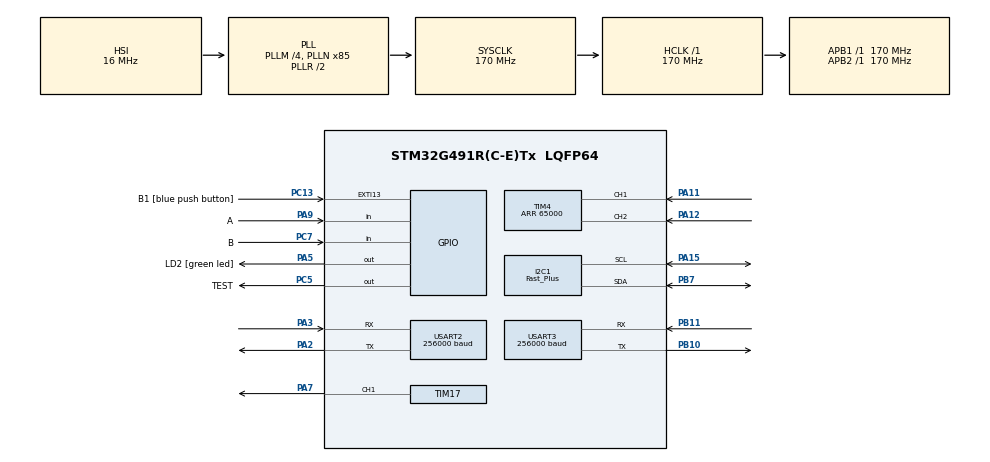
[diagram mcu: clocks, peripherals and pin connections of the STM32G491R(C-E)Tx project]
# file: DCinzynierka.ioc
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Dma.Request0=USART3_RX
Dma.Request1=USART2_RX
Dma.USART2_RX.1.Direction=DMA_PERIPH_TO_MEMORY
Dma.USART2_RX.1.EventEnable=DISABLE
Dma.USART2_RX.1.Instance=DMA1_Channel2
Dma.USART2_RX.1.MemDataAlignment=DMA_MDATAALIGN_BYTE
Dma.USART2_RX.1.MemInc=DMA_MINC_ENABLE
Dma.USART2_RX.1.Mode=DMA_NORMAL
Dma.USART2_RX.1.PeriphDataAlignment=DMA_PDATAALIGN_BYTE
Dma.USART2_RX.1.PeriphInc=DMA_PINC_DISABLE
Dma.USART2_RX.1.Polarity=HAL_DMAMUX_REQ_GEN_RISING
Dma.USART2_RX.1.Priority=DMA_PRIORITY_LOW
Dma.USART2_RX.1.RequestNumber=1
Dma.USART2_RX.1.SignalID=NONE
Dma.USART2_RX.1.SyncEnable=DISABLE
Dma.USART2_RX.1.SyncPolarity=HAL_DMAMUX_SYNC_NO_EVENT
Dma.USART2_RX.1.SyncRequestNumber=1
Dma.USART2_RX.1.SyncSignalID=NONE
Dma.USART3_RX.0.Direction=DMA_PERIPH_TO_MEMORY
Dma.USART3_RX.0.EventEnable=DISABLE
Dma.USART3_RX.0.Instance=DMA1_Channel1
Dma.USART3_RX.0.MemDataAlignment=DMA_MDATAALIGN_BYTE
Dma.USART3_RX.0.MemInc=DMA_MINC_ENABLE
Dma.USART3_RX.0.Mode=DMA_NORMAL
Dma.USART3_RX.0.PeriphDataAlignment=DMA_PDATAALIGN_BYTE
Dma.USART3_RX.0.PeriphInc=DMA_PINC_DISABLE
Dma.USART3_RX.0.Polarity=HAL_DMAMUX_REQ_GEN_RISING
Dma.USART3_RX.0.Priority=DMA_PRIORITY_LOW
Dma.USART3_RX.0.RequestNumber=1
Dma.USART3_RX.0.SignalID=NONE
Dma.USART3_RX.0.SyncEnable=DISABLE
Dma.USART3_RX.0.SyncPolarity=HAL_DMAMUX_SYNC_NO_EVENT
Dma.USART3_RX.0.SyncRequestNumber=1
Dma.USART3_RX.0.SyncSignalID=NONE
I2C1.Analog_Filter=I2C_ANALOGFILTER_ENABLE
I2C1.I2C_Coeff_DF=0
I2C1.I2C_Speed_Mode=I2C_Fast_Plus
I2C1.Timing=0x00802172
Mcu.Family=STM32G4
Mcu.Name=STM32G491R(C-E)Tx
Mcu.Package=LQFP64
NVIC.DMA1_Channel1_IRQn=true\:0\:0\:false\:false\:true\:false\:true\:true
NVIC.DMA1_Channel2_IRQn=true\:0\:0\:false\:false\:true\:false\:true\:true
NVIC.EXTI15_10_IRQn=true\:0\:0\:false\:false\:true\:true\:true\:true
NVIC.PriorityGroup=NVIC_PRIORITYGROUP_4
NVIC.TIM1_BRK_TIM15_IRQn=true\:0\:0\:false\:false\:true\:true\:true\:true
NVIC.TIM2_IRQn=true\:0\:0\:false\:false\:true\:true\:true\:true
NVIC.TIM3_IRQn=true\:0\:0\:false\:false\:true\:true\:true\:true
NVIC.USART3_IRQn=true\:0\:0\:false\:false\:true\:true\:true\:true
PA11.Signal=S_TIM4_CH1
PA12.Signal=S_TIM4_CH2
PA13.GPIO_Label=T_SWDIO
PA13.Mode=Serial_Wire
PA13.Signal=SYS_JTMS-SWDIO
PA14.GPIO_Label=T_SWCLK
PA14.Mode=Serial_Wire
PA14.Signal=SYS_JTCK-SWCLK
PA15.Mode=I2C
PA15.Signal=I2C1_SCL
PA2.Mode=Asynchronous
PA2.Signal=USART2_TX
PA3.Mode=Asynchronous
PA3.Signal=USART2_RX
PA5.GPIO_Label=LD2 [green led]
PA5.Signal=GPIO_Output
PA7.Signal=S_TIM17_CH1
PA9.GPIO_Label=A
PA9.Signal=GPIO_Input
PB10.Mode=Asynchronous
PB10.Signal=USART3_TX
PB11.Mode=Asynchronous
PB11.Signal=USART3_RX
PB3.GPIO_Label=T_SWO
PB3.Signal=SYS_JTDO-SWO
PB7.Mode=I2C
PB7.Signal=I2C1_SDA
PC13.GPIO_Label=B1 [blue push button]
PC13.Signal=GPXTI13
PC14-OSC32_IN.Mode=LSE-External-Oscillator
PC14-OSC32_IN.Signal=RCC_OSC32_IN
PC15-OSC32_OUT.Mode=LSE-External-Oscillator
PC15-OSC32_OUT.Signal=RCC_OSC32_OUT
PC5.GPIO_Label=TEST
PC5.Signal=GPIO_Output
PC7.GPIO_Label=B
PC7.Signal=GPIO_Input
PF0-OSC_IN.Mode=HSE-External-Oscillator
PF0-OSC_IN.Signal=RCC_OSC_IN
PF1-OSC_OUT.Mode=HSE-External-Oscillator
PF1-OSC_OUT.Signal=RCC_OSC_OUT
ProjectManager.HeapSize=0x200
ProjectManager.StackSize=0x400
ProjectManager.TargetToolchain=STM32CubeIDE
RCC.ADC12Freq_Value=170000000
RCC.ADC345Freq_Value=170000000
RCC.AHBFreq_Value=170000000
RCC.APB1Freq_Value=170000000
RCC.APB1TimFreq_Value=170000000
RCC.APB2Freq_Value=170000000
RCC.APB2TimFreq_Value=170000000
RCC.CortexFreq_Value=170000000
RCC.EXTERNAL_CLOCK_VALUE=12288000
RCC.HCLKFreq_Value=170000000
RCC.HSE_VALUE=24000000
RCC.HSI48_VALUE=48000000
RCC.HSI_VALUE=16000000
RCC.PLLM=RCC_PLLM_DIV4
RCC.PLLN=85
RCC.RTCClockSelection=RCC_RTCCLKSOURCE_LSE
RCC.SYSCLKFreq_VALUE=170000000
RCC.SYSCLKSource=RCC_SYSCLKSOURCE_PLLCLK
RCC.USBFreq_Value=48000000
RCC.VCOOutputFreq_Value=340000000
SH.S_TIM17_CH1.0=TIM17_CH1,PWM Generation1 CH1
SH.S_TIM4_CH1.0=TIM4_CH1,Encoder_Interface
SH.S_TIM4_CH2.0=TIM4_CH2,Encoder_Interface
TIM15.PeriodNoDither=9999
TIM15.Prescaler=169
TIM17.Channel=TIM_CHANNEL_1
TIM17.PeriodNoDither=9999
TIM17.Prescaler=16
TIM2.PeriodNoDither=999
TIM2.Prescaler=169
TIM3.PeriodNoDither=9999
TIM3.Prescaler=16999
TIM4.EncoderMode=TIM_ENCODERMODE_TI12
TIM4.PeriodNoDither=65000
USART2.BaudRate=256000
USART2.VirtualMode-Asynchronous=VM_ASYNC
USART3.BaudRate=256000
USART3.VirtualMode-Asynchronous=VM_ASYNC
VP_SYS_VS_DBSignals.Mode=DisableDeadBatterySignals
VP_TIM15_VS_ClockSourceINT.Mode=Internal
VP_TIM17_VS_ClockSourceINT.Mode=Enable_Timer
VP_TIM2_VS_ClockSourceINT.Mode=Internal
VP_TIM3_VS_ClockSourceINT.Mode=Internal
board=NUCLEO-G491RE

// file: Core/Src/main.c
/* USER CODE BEGIN Header */
/**
 ******************************************************************************
 * @file           : main.c
 * @brief          : Main program body
 ******************************************************************************
 * @attention
 *
 * <h2><center>&copy; Copyright (c) 2022 STMicroelectronics.
 * All rights reserved.</center></h2>
 *
 * This software component is licensed by ST under BSD 3-Clause license,
 * the "License"; You may not use this file except in compliance with the
 * License. You may obtain a copy of the License at:
 *                        opensource.org/licenses/BSD-3-Clause
 *
 ******************************************************************************
 */
/* USER CODE END Header */
#include "main.h"
#include "dma.h"
#include "i2c.h"
#include "tim.h"
#include "usart.h"
#include "gpio.h"

/* USER CODE BEGIN Includes */
#include "stdio.h"
#include "stdbool.h"
#include "INA219.h"
#include "math.h"
/* USER CODE END Includes */

/* USER CODE BEGIN PV */
int pwm = 0;

// SILNIK DC
volatile int32_t count;
volatile int16_t speed = 0;
volatile int16_t speed_1 = 0; // do rysowania
volatile int16_t speed_prev;
float number = 15; // dla czasu 10ms
// UART
char msg[64];

uint8_t data[100]; // Tablica przechowujaca wysylana wiadomosc.
uint16_t size = 0;
uint8_t Received[10];
volatile float Kpw = 0.11f;
volatile float Kiw = 0.25f;
volatile float Kpi = 0.0f;
volatile float Kii = 5.0f;

volatile int WZZ = 2; //zadana predkosc obrotowa
volatile int KRK = 1; //zadana ilosc krokow
_Bool LogFlag = 0;
volatile _Bool Flaga = false;
volatile _Bool Flaga2 = false;

//pomiar pradu
INA219_t ina219;
volatile float vbus, vshunt, current;
volatile float current1 = 0.0f;
volatile float current2 = 0.0f;
volatile float currentObsv;
volatile float Tf = 0.2f;
//Wszystkie wartości z czapy
//Nastawy regulatora prądu

//Nastawy regulatora prędkości

//Warunki początkowe, okres, wypełnienie
float prevIntI = 0.0f;
float prevErrorI = 0.0f;
float prevIntW = 0.0f;
float prevErrorW = 0.0f;
volatile uint16_t duty; // PWM %
volatile float setValueW = 1000.0f; // value of omega- setpoint
volatile float setValueI = 500.0f; //value of I- setpoint
float Tp = 0.01f; //Sample time
volatile float Wmess; // zmierzona omega
volatile float Imess; // zmierzony prąd
float kFi = 0.127f; // stała elektromotoryczna napędu;
volatile int REG = 0;
volatile int PWM = 0;
int32_t cntT = 0;
int32_t cntW = 0;

/* USER CODE END PV */

void SystemClock_Config(void);

/* USER CODE BEGIN 0 */
void HAL_TIM_PeriodElapsedCallback(TIM_HandleTypeDef *htim) {
	if (htim->Instance == TIM15) {

		if (HAL_GPIO_ReadPin(A_GPIO_Port, A_Pin) == SET
				&& HAL_GPIO_ReadPin(B_GPIO_Port, B_Pin) == SET) {
			htim17.Instance->CCR1 = 0;
			prevIntI = 0.0f;
			prevErrorI = 0.0f;
			prevIntW = 0.0f;
			prevErrorW = 0.0f;
		}

		if ((HAL_GPIO_ReadPin(A_GPIO_Port, A_Pin) == RESET
				&& HAL_GPIO_ReadPin(B_GPIO_Port, B_Pin) == RESET)
				|| (HAL_GPIO_ReadPin(A_GPIO_Port, A_Pin) == SET
						&& HAL_GPIO_ReadPin(B_GPIO_Port, B_Pin) == SET)) {
			htim17.Instance->CCR1 = 0;
			prevIntI = 0.0f;
			prevErrorI = 0.0f;
			prevIntW = 0.0f;
			prevErrorW = 0.0f;

		}

		if (HAL_GPIO_ReadPin(A_GPIO_Port, A_Pin) == SET
				&& HAL_GPIO_ReadPin(B_GPIO_Port, B_Pin) == RESET) {
			if (REG == 0) {
				htim17.Instance->CCR1 = duty;
			}
			if (REG == 1) {
				//TorqueControl();
			}
			if (REG == 2) {
				CascadeControl();
			}
		}
		if (HAL_GPIO_ReadPin(A_GPIO_Port, A_Pin) == RESET
				&& HAL_GPIO_ReadPin(B_GPIO_Port, B_Pin) == SET) {

			if (REG == 0) {
				htim17.Instance->CCR1 = duty;
			}
			if (REG == 1) {
				//TorqueControl();
			}
			if (REG == 2) {
				CascadeControl();
			}
		}
		if (__HAL_TIM_IS_TIM_COUNTING_DOWN(&htim4)) {
			count = __HAL_TIM_GET_COUNTER(&htim4);
			count = 65000 - count;
			speed = -number * count / 4; //obr min

			__HAL_TIM_SET_COUNTER(&htim4, 0);

		} else if (!__HAL_TIM_IS_TIM_COUNTING_DOWN(&htim4)) {
			count = __HAL_TIM_GET_COUNTER(&htim4);
			speed = number * count / 4; //obr min

			__HAL_TIM_SET_COUNTER(&htim4, 0);
		}

		if (speed > 5000 || speed < -5000) {
			speed_1 = 0;
		} else
			speed_1 = speed;

		if (LogFlag == 1) {
			size = sprintf(data, "data %.2f %d %.2f %d \r\n", current, speed_1,
					vbus / 1000.0f, (uint16_t) round(duty / 100.0f));
			HAL_UART_Transmit(&huart2, data, size, 1000);
		}
		//uruchomic konwersje na przetworniku , przerwanie od konca konwersji

		if (!Flaga2) {
			Flaga = true;
		}

	}

	if (htim->Instance == TIM3) {

		size = sprintf(data, "parm %.2f %.2f %.2f %.2f %.2f %.2f %d %d \r\n",
				setValueI, setValueW, Kpw, Kiw, Kpi, Kii,
				(uint16_t) round(duty / 100.0f), REG); // @suppress("Float formatting support")
		HAL_UART_Transmit(&huart2, data, size, 1000);

	}

}

void TorqueControl() {
	float uI;
	Imess = current; //Pomiar prądu
	float errorI = setValueI - Imess; // pytanie jak się ma zmierzony prąd do uW do zbadania
	//P prądu
	float uKpI = Kpi * errorI;
	//I prądu
	float errorSumI = errorI + prevErrorI + prevIntI;
	prevErrorI = errorI;
	float uKiI = errorSumI * Tp / 2.0f * Kii;
	prevIntI = errorSumI;
	uI = uKpI + uKiI;
	duty = (uint16_t) uI; // pytanie czy to uI będzie w sensownych wartościach czy np tylko małe
	if (duty > 9999) {
		duty = 9999;
	}
	htim17.Instance->CCR1 = duty; //Odpowiedni timer od PWM silnika musi mieć takie duty
}
void CascadeControl() {
	Wmess = speed_1 * 3.14f / 30.0f; //Tutaj mierzenie prędkości
	if (Wmess < 0) {
		Wmess = -speed_1 * 3.14f / 30.0f;
	}

	float uW;
	float uI;
	float errorW2 = 0.16f * setValueW * 3.14f / 30.0f - Wmess;
	float errorW = setValueW * 3.14f / 30.0f - Wmess;
	//P omega
	float uKpW = Kpw * errorW2;
	//I omega
	float errorSumW = errorW + prevErrorW + prevIntW;
	prevErrorW = errorW;
	float uKiW = errorSumW * Tp / 2.0f * Kiw;
	prevIntW = errorSumW;
	uW = (uKpW + uKiW) / kFi; // wartość zadana dla regulatora prądu
	Imess = current; // Tutaj mierzenie prądu
	float errorI = uW - Imess; // pytanie jak się ma zmierzony prąd do uW do zbadania
	//P prądu
	float uKpI = Kpi * errorI;
	//I prądu
	float errorSumI = errorI + prevErrorI + prevIntI;
	prevErrorI = errorI;
	float uKiI = errorSumI * Tp / 2.0f * Kii;
	prevIntI = errorSumI;
	uI = uKpI + uKiI;
	duty = (uint16_t) uI; // pytanie czy to uI będzie w sensownych wartościach czy np tylko małe
	if (duty > 9999) {
		duty = 9999;
	}
	htim17.Instance->CCR1 = duty; //Odpowiedni timer od PWM silnika musi mieć takie duty
}

void HAL_UART_RxCpltCallback(UART_HandleTypeDef *huart) {
	if (huart == &huart2) {

		unsigned int value = 0; //wartość do wpisania do nastawy
		char str[3];
		uint8_t Received_str[3]; // słowo okreslajace nastawe
		uint8_t Received_val[5]; // zmienna pomocnicza do przechowywania wartości zadanej z UART
		//przepisanie wartości do nowego bufora ostatnie 5 znakow okresla liczbe do wpisania dla nastawy
		for (int i = 0; i < 5; i++) {
			Received_val[i] = Received[3 + i];
		}
		int rx_n = sscanf((char*) Received_val, "%d", &value);

		if (Received[0] == 'K' && Received[1] == 'P' && Received[2] == 'W') {
			//wpisanie wartosci do zmiennej

			if (rx_n == 1) {
				Kpw = value / 100.0f;

			}
		}

		// jesli komenda dotyczy Kiw( wzmocnienie calkowania petli predkosci) to ustaw wartosc
		if (Received[0] == 'K' && Received[1] == 'I' && Received[2] == 'W') {
			//wpisanie wartosci do zmiennej

			if (rx_n == 1) {
				Kiw = value / 100.0f;
			}
		}
		// jesli komenda dotyczy Kdw( wzmocnienie różniczkowania petli predkosci) to ustaw wartosc

		// jesli komenda dotyczy Kpi( wzmocnienie petli pradu) to ustaw wartosc
		if (Received[0] == 'K' && Received[1] == 'P' && Received[2] == 'I') {
			//wpisanie wartosci do zmiennej

			if (rx_n == 1) {
				Kpi = value / 100.0f;
			}
		}
		// jesli komenda dotyczy Kii( wzmocnienie calkowania petli pradu) to ustaw wartosc
		if (Received[0] == 'K' && Received[1] == 'I' && Received[2] == 'I') {
			//wpisanie wartosci do zmiennej

			if (rx_n == 1) {
				Kii = value / 100.0f;
			}
		}
		// jesli komenda dotyczy Kdw( wzmocnienie różniczkowania petli pradu) to ustaw wartosc
		if (Received[0] == 'I' && Received[1] == 'Z' && Received[2] == 'Z') {
			//wpisanie wartosci do zmiennej

			if (rx_n == 1) {
				setValueI = value;
			}
		}

		//jeśli komenda dotyczy predkosci ustaw predkosc
		if (Received[0] == 'W' && Received[1] == 'Z' && Received[2] == 'Z') {
			//wpisanie wartosci do zmiennej

			if (rx_n == 1) {
				setValueW = value;
			}
		}
		if (Received[0] == 'P' && Received[1] == 'W' && Received[2] == 'M') {
			//wpisanie wartosci do zmiennej

			if (rx_n == 1) {
				duty = value * 9999 / 100;
				if (duty > 9999) {
					duty = 9999;
				}

			}
		}

		if (Received[0] == 'D' && Received[1] == 'O' && Received[2] == 'F') {
			//wpisanie wartosci do zmiennej

			if (rx_n == 1) {

				LogFlag = false;

			}
		}
		if (Received[0] == 'D' && Received[1] == 'O' && Received[2] == 'N') {
			//wpisanie wartosci do zmiennej

			if (rx_n == 1) {

				LogFlag = true;

			}
		}
		if (Received[0] == 'R' && Received[1] == 'E' && Received[2] == 'G') {
			//wpisanie wartosci do zmiennej

			if (rx_n == 1) {
				if (value == 0)
					REG = 0;
				else if (value == 1)
					REG = 1;
				else if (value == 2)
					REG = 2;

			}
		}

		HAL_UART_Receive_DMA(&huart2, Received, 8);

	}
}

/* USER CODE END 0 */

int main(void)
{

  /* MCU Configuration--------------------------------------------------------*/

  /* Reset of all peripherals, Initializes the Flash interface and the Systick. */
  HAL_Init();

  /* Configure the system clock */
  SystemClock_Config();

  /* Initialize all configured peripherals */
  MX_GPIO_Init();
  MX_DMA_Init();
  MX_TIM17_Init();
  MX_TIM15_Init();
  MX_USART3_UART_Init();
  MX_TIM4_Init();
  MX_I2C1_Init();
  MX_USART2_UART_Init();
  MX_TIM3_Init();
  MX_TIM2_Init();
  /* USER CODE BEGIN 2 */
	//timer do PWM DC
	HAL_TIM_PWM_Start(&htim17, TIM_CHANNEL_1);
	__HAL_TIM_SET_COMPARE(&htim17, TIM_CHANNEL_1, 9999);
	// timer do przerwań- pomiar predkosci silnika dc
	HAL_TIM_Base_Start_IT(&htim15);
	HAL_TIM_Base_Start_IT(&htim3);
	HAL_TIM_Base_Start_IT(&htim2);
	// timer do enkodera DC
	HAL_TIM_Encoder_Start(&htim4, TIM_CHANNEL_ALL);
	HAL_UART_Receive_DMA(&huart2, Received, 8);

	while (!INA219_Init(&ina219, &hi2c1, INA219_ADDRESS)) {
		HAL_GPIO_TogglePin(LD2_GPIO_Port, LD2_Pin);
	}
//	   INA219_setPowerMode(&ina219, INA219_CONFIG_MODE_ADCOFF);
	vbus = INA219_ReadBusVoltage(&ina219);
	vshunt = INA219_ReadShuntVolage(&ina219);
	current = INA219_ReadCurrent(&ina219);
  /* USER CODE END 2 */

  /* Infinite loop */
  /* USER CODE BEGIN WHILE */
	while (1) {

		if (Flaga) {
			Flaga2 = true;

			vbus = INA219_ReadBusVoltage(&ina219);
			current = INA219_ReadCurrent(&ina219);
			vshunt = INA219_ReadShuntVolage(&ina219);

			Flaga = false;
			Flaga2 = false;
		}

		HAL_Delay(0);
    /* USER CODE END WHILE */

	}
}

void SystemClock_Config(void)
{
  RCC_OscInitTypeDef RCC_OscInitStruct = {0};
  RCC_ClkInitTypeDef RCC_ClkInitStruct = {0};

  /** Configure the main internal regulator output voltage
  */
  HAL_PWREx_ControlVoltageScaling(PWR_REGULATOR_VOLTAGE_SCALE1_BOOST);

  /** Initializes the RCC Oscillators according to the specified parameters
  * in the RCC_OscInitTypeDef structure.
  */
  RCC_OscInitStruct.OscillatorType = RCC_OSCILLATORTYPE_HSI;
  RCC_OscInitStruct.HSIState = RCC_HSI_ON;
  RCC_OscInitStruct.HSICalibrationValue = RCC_HSICALIBRATION_DEFAULT;
  RCC_OscInitStruct.PLL.PLLState = RCC_PLL_ON;
  RCC_OscInitStruct.PLL.PLLSource = RCC_PLLSOURCE_HSI;
  RCC_OscInitStruct.PLL.PLLM = RCC_PLLM_DIV4;
  RCC_OscInitStruct.PLL.PLLN = 85;
  RCC_OscInitStruct.PLL.PLLP = RCC_PLLP_DIV2;
  RCC_OscInitStruct.PLL.PLLQ = RCC_PLLQ_DIV2;
  RCC_OscInitStruct.PLL.PLLR = RCC_PLLR_DIV2;
  if (HAL_RCC_OscConfig(&RCC_OscInitStruct) != HAL_OK)
  {
    Error_Handler();
  }

  /** Initializes the CPU, AHB and APB buses clocks
  */
  RCC_ClkInitStruct.ClockType = RCC_CLOCKTYPE_HCLK|RCC_CLOCKTYPE_SYSCLK
                              |RCC_CLOCKTYPE_PCLK1|RCC_CLOCKTYPE_PCLK2;
  RCC_ClkInitStruct.SYSCLKSource = RCC_SYSCLKSOURCE_PLLCLK;
  RCC_ClkInitStruct.AHBCLKDivider = RCC_SYSCLK_DIV1;
  RCC_ClkInitStruct.APB1CLKDivider = RCC_HCLK_DIV1;
  RCC_ClkInitStruct.APB2CLKDivider = RCC_HCLK_DIV1;

  if (HAL_RCC_ClockConfig(&RCC_ClkInitStruct, FLASH_LATENCY_4) != HAL_OK)
  {
    Error_Handler();
  }
}

void Error_Handler(void)
{
	__disable_irq();
	while (1) {
	}
}
